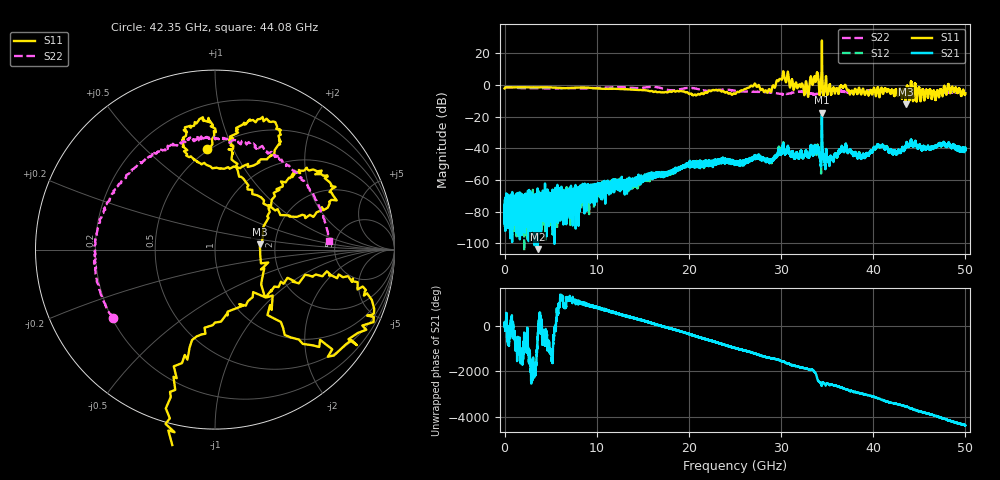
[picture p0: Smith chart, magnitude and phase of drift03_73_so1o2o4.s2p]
!Created with skrf (http://scikit-rf.org).
# Hz S RI R 50.0
!freq ReS11 ImS11 ReS21 ImS21 ReS12 ImS12 ReS22 ImS22
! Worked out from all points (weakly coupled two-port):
!   10000 points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, 5.3 MHz to 50 GHz, reference 50 ohm
!   highest |S21| = -17.50 dB at 34.43 GHz (marker M1); lowest = -103.5 dB at 3.59 GHz (marker M2)
!   lowest |S11| = -12.0 dB at 43.52 GHz (marker M3), VSWR 1.67, Z = 83 + j5.26 ohm
!   |S11| at or under -10 dB: 43.4851 GHz to 43.55315 GHz (68.05 MHz wide, 0.156 % of centre); 44.30928 GHz to 44.31606 GHz (6.776 MHz wide, 0.0153 % of centre); 44.32914 GHz to 44.33037 GHz (1.223 MHz wide, 0.00276 % of centre) (the widest 3 of 5)
!   |S22| runs from -5.8 to -1.1 dB; largest |S21 - S12| = 0.036
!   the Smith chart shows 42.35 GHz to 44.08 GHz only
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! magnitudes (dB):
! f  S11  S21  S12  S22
! 5.3 MHz  -2.1  -76.2  -74.6  -1.3
! 3.59 GHz  -1.4  -103.5  -76.9  -1.9
! 8.34 GHz  -1.5  -65.2  -66.6  -2.1
! 16.67 GHz  -4.4  -57.9  -55.6  -1.5
! 20.44 GHz  -6.5  -51.5  -48.4  -1.9
! 25.01 GHz  -5.5  -49.0  -48.5  -3.5
! 27.02 GHz  -0.3  -45.4  -46.1  -4.2
! 28.72 GHz  -2.5  -47.4  -47.7  -4.5
! 30.14 GHz  4.4  -40.3  -40.3  -5.6
! 32.74 GHz  2.0  -42.0  -42.1  -4.5
! 33.34 GHz  2.6  -40.1  -40.5  -5.5
! 33.82 GHz  4.0  -42.9  -42.4  -5.7
! 34.43 GHz  28.2  -17.5  -19.0  -4.6
! 35.29 GHz  0.3  -49.3  -47.0  -3.3
! 36.83 GHz  -0.8  -42.2  -41.6  -4.1
! 38.86 GHz  -2.6  -44.9  -43.9  -3.2
! 40.6 GHz  -4.4  -38.5  -38.3  -4.0
! 41.67 GHz  -2.9  -42.0  -42.3  -3.3
! 43.52 GHz  -12.0  -39.1  -39.0  -4.2
! 46.94 GHz  -3.6  -38.6  -38.4  -4.8
! 48.33 GHz  -4.5  -38.1  -38.2  -4.6
! 50 GHz  -5.2  -40.8  -41.0  -4.5
